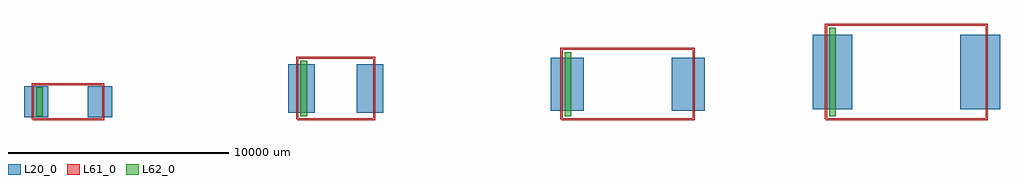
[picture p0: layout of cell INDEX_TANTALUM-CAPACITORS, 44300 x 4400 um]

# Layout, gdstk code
import gdstk
lib = gdstk.Library(unit=1e-6, precision=1e-09)
def R(c, l, rs):  # rectangles x0, y0, x1, y1
    for r in rs: c.add(gdstk.rectangle(r[:2], r[2:], *l))
L20_0 = (20, 0)
L61_0 = (61, 0)
L62_0 = (62, 0)

eia_3216__case_a_ = lib.new_cell('EIA-3216 (Case A)')
R(eia_3216__case_a_, L20_0, [(-400,100,700,1500), (2500,100,3600,1500)])
R(eia_3216__case_a_, L62_0, [(150,150,450,1450)])
eia_3216__case_a_.add(gdstk.FlexPath([(0,0),(3200,0),(3200,1600),(0,1600),(0,0)], 100, ends="flush", simple_path=True, layer=61, datatype=0))  # L61_0
eia_3216__case_a_.add(gdstk.Label('C', (1600,800), layer=62, texttype=0))

eia_3528__case_b_ = lib.new_cell('EIA-3528 (Case B)')
R(eia_3528__case_b_, L20_0, [(-400,300,800,2500), (2700,300,3900,2500)])
R(eia_3528__case_b_, L62_0, [(150,150,450,2650)])
eia_3528__case_b_.add(gdstk.FlexPath([(0,0),(3500,0),(3500,2800),(0,2800),(0,0)], 100, ends="flush", simple_path=True, layer=61, datatype=0))  # L61_0
eia_3528__case_b_.add(gdstk.Label('C', (1750,1400), layer=62, texttype=0))

eia_6032__case_c_ = lib.new_cell('EIA-6032 (Case C)')
R(eia_6032__case_c_, L20_0, [(-500,400,1000,2800), (5000,400,6500,2800)])
R(eia_6032__case_c_, L62_0, [(150,150,450,3050)])
eia_6032__case_c_.add(gdstk.FlexPath([(0,0),(6000,0),(6000,3200),(0,3200),(0,0)], 100, ends="flush", simple_path=True, layer=61, datatype=0))  # L61_0
eia_6032__case_c_.add(gdstk.Label('C', (3000,1600), layer=62, texttype=0))

eia_7343__case_d_ = lib.new_cell('EIA-7343 (Case D)')
R(eia_7343__case_d_, L20_0, [(-600,450,1200,3850), (6100,450,7900,3850)])
R(eia_7343__case_d_, L62_0, [(150,150,450,4150)])
eia_7343__case_d_.add(gdstk.FlexPath([(0,0),(7300,0),(7300,4300),(0,4300),(0,0)], 100, ends="flush", simple_path=True, layer=61, datatype=0))  # L61_0
eia_7343__case_d_.add(gdstk.Label('C', (3650,2150), layer=62, texttype=0))

index_tantalum_capacitor = lib.new_cell('INDEX_TANTALUM-CAPACITORS')
index_tantalum_capacitor.add(gdstk.Reference(eia_3216__case_a_, (0,0)))
index_tantalum_capacitor.add(gdstk.Reference(eia_3528__case_b_, (12000,0)))
index_tantalum_capacitor.add(gdstk.Reference(eia_6032__case_c_, (24000,0)))
index_tantalum_capacitor.add(gdstk.Reference(eia_7343__case_d_, (36000,0)))
index_tantalum_capacitor.add(gdstk.Label('EIA-3216 (Case A)', (0,-4000), layer=62, texttype=0))
index_tantalum_capacitor.add(gdstk.Label('EIA-3528 (Case B)', (12000,-4000), layer=62, texttype=0))
index_tantalum_capacitor.add(gdstk.Label('EIA-6032 (Case C)', (24000,-4000), layer=62, texttype=0))
index_tantalum_capacitor.add(gdstk.Label('EIA-7343 (Case D)', (36000,-4000), layer=62, texttype=0))

lib.write_gds('INDEX_TANTALUM-CAPACITORS.gds')
